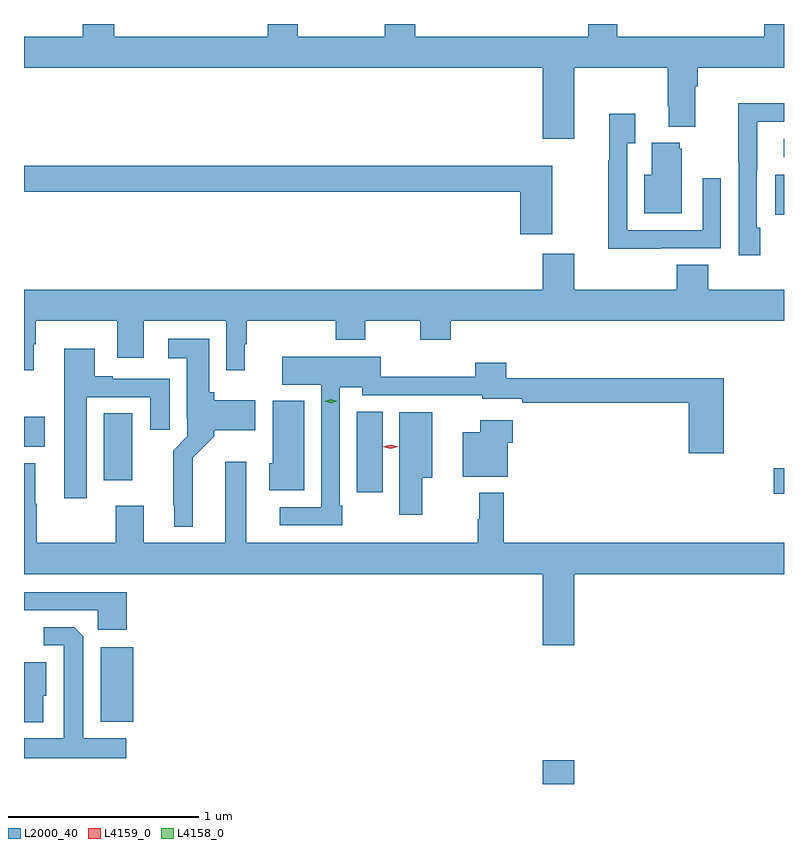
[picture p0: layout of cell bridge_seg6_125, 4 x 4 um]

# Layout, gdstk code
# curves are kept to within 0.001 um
import gdstk
lib = gdstk.Library(unit=1e-6, precision=1e-09)
def R(c, l, rs):  # rectangles x0, y0, x1, y1
    for r in rs: c.add(gdstk.rectangle(r[:2], r[2:], *l))
def P(c, l, *ps):  # polygons
    for p in ps: c.add(gdstk.Polygon(p, *l))
L2000_40 = (2000, 40)
L4158_0 = (4158, 0)
L4159_0 = (4159, 0)

bridge_seg6_125 = lib.new_cell('bridge_seg6_125')
R(bridge_seg6_125, L2000_40, [(488.684,976.867,488.848,976.993), (486.356,977.195,486.527,977.587), (489.9,978.395,489.953,978.53), (487.703,978.402,487.84,978.827), (486.374,978.465,486.523,978.818), (485.953,978.641,486.061,978.799), (489.908,979.862,489.953,980.074), (489.951,980.166,489.953,980.262)])
P(bridge_seg6_125, L2000_40, [(488.012,980.867),(487.852,980.867),(487.852,980.8),(487.395,980.8),(487.395,980.867),(487.235,980.867),(487.235,980.8),(486.428,980.8),(486.428,980.867),(486.263,980.867),(486.263,980.8),(485.953,980.8),(485.953,980.636),(488.684,980.636),(488.684,980.262),(488.848,980.262),(488.848,980.636),(489.34,980.636),(489.34,980.434),(489.347,980.434),(489.347,980.327),(489.487,980.327),(489.487,980.54),(489.5,980.54),(489.5,980.636),(489.953,980.636),(489.953,980.867),(489.848,980.867),(489.848,980.8),(489.076,980.8),(489.076,980.867),(488.924,980.867),(488.924,980.8),(488.012,980.8)],
  [(489.829,979.794),(489.81,979.794),(489.81,980.098),(489.811,980.098),(489.811,980.352),(489.953,980.352),(489.953,980.45),(489.712,980.45),(489.712,980.143),(489.714,980.143),(489.714,979.65),(489.829,979.65)],
  [(489.305,979.686),(489.621,979.686),(489.621,980.056),(489.525,980.056),(489.525,979.782),(489.129,979.782),(489.129,980.239),(489.169,980.239),(489.169,980.395),(489.032,980.395),(489.032,980.15),(489.028,980.15),(489.028,979.685),(489.305,979.685)],
  [(489.415,980.211),(489.404,980.211),(489.404,980.242),(489.257,980.242),(489.257,980.074),(489.218,980.074),(489.218,979.871),(489.415,979.871)],
  [(488.734,980.12),(485.953,980.12),(485.953,979.984),(488.564,979.984),(488.564,979.761),(488.734,979.761)],
  [(486.004,979.182),(486.016,979.182),(486.016,979.304),(486.443,979.304),(486.443,979.11),(486.583,979.11),(486.583,979.304),(487.017,979.304),(487.017,979.044),(487.115,979.044),(487.115,979.182),(487.126,979.182),(487.126,979.304),(487.594,979.304),(487.594,979.205),(487.749,979.205),(487.749,979.304),(488.038,979.304),(488.038,979.205),(488.198,979.205),(488.198,979.304),(489.953,979.304),(489.953,979.468),(489.554,979.468),(489.554,979.601),(489.389,979.601),(489.389,979.468),(488.848,979.468),(488.848,979.657),(488.684,979.657),(488.684,979.468),(485.953,979.468),(485.953,979.044),(486.004,979.044)],
  [(486.841,978.584),(486.954,978.697),(486.954,978.728),(487.171,978.728),(487.171,978.886),(486.954,978.886),(486.954,978.93),(486.928,978.93),(486.928,979.21),(486.711,979.21),(486.711,979.109),(486.809,979.109),(486.809,978.79),(486.813,978.79),(486.813,978.696),(486.739,978.622),(486.739,978.331),(486.743,978.331),(486.743,978.221),(486.841,978.221)],
  [(486.283,978.903),(486.617,978.903),(486.617,978.732),(486.721,978.732),(486.721,978.999),(486.421,978.999),(486.421,979.012),(486.325,979.012),(486.325,979.159),(486.164,979.159),(486.164,978.372),(486.283,978.372)],
  [(487.627,978.331),(487.614,978.331),(487.614,978.956),(487.734,978.956),(487.734,978.912),(488.364,978.912),(488.364,978.894),(488.575,978.894),(488.575,978.874),(489.452,978.874),(489.452,978.609),(489.635,978.609),(489.635,979.003),(488.492,979.003),(488.492,979.084),(488.327,979.084),(488.327,979.01),(487.83,979.01),(487.83,979.117),(487.311,979.117),(487.311,978.968),(487.518,978.968),(487.518,978.324),(487.299,978.324),(487.299,978.228),(487.627,978.228)],
  [(487.429,978.883),(487.262,978.883),(487.262,978.555),(487.244,978.555),(487.244,978.413),(487.429,978.413)],
  [(488.05,978.479),(488.101,978.479),(488.101,978.823),(487.928,978.823),(487.928,978.285),(488.05,978.285)],
  [(488.5,978.663),(488.525,978.663),(488.525,978.781),(488.354,978.781),(488.354,978.718),(488.261,978.718),(488.261,978.485),(488.5,978.485)],
  [(488.477,978.4),(488.349,978.4),(488.349,978.26),(488.341,978.26),(488.341,978.136),(487.123,978.136),(487.123,978.562),(487.013,978.562),(487.013,978.136),(486.583,978.136),(486.583,978.331),(486.436,978.331),(486.436,978.136),(486.021,978.136),(486.021,978.341),(486.013,978.341),(486.013,978.556),(485.953,978.556),(485.953,977.972),(488.684,977.972),(488.684,977.598),(488.848,977.598),(488.848,977.972),(489.953,977.972),(489.953,978.136),(488.477,978.136)],
  [(486.494,977.877),(485.953,977.877),(485.953,977.781),(486.342,977.781),(486.342,977.678),(486.494,977.678)],
  [(486.49,977.107),(486.265,977.107),(486.264,977.645),(486.218,977.691),(486.057,977.691),(486.057,977.598),(486.161,977.598),(486.161,977.107),(485.953,977.107),(485.953,977.003),(486.49,977.003)],
  [(486.055,977.331),(486.07,977.331),(486.07,977.509),(485.953,977.509),(485.953,977.192),(486.055,977.192)])
P(bridge_seg6_125, L4158_0, [(487.567,978.871),(487.532,978.882),(487.532,978.882),(487.532,978.882),(487.567,978.891),(487.602,978.881),(487.602,978.881),(487.602,978.881)])
P(bridge_seg6_125, L4159_0, [(487.883,978.632),(487.842,978.642),(487.842,978.642),(487.842,978.642),(487.883,978.652),(487.924,978.642),(487.924,978.642),(487.924,978.642)])

lib.write_gds('bridge_seg6_125.gds')
